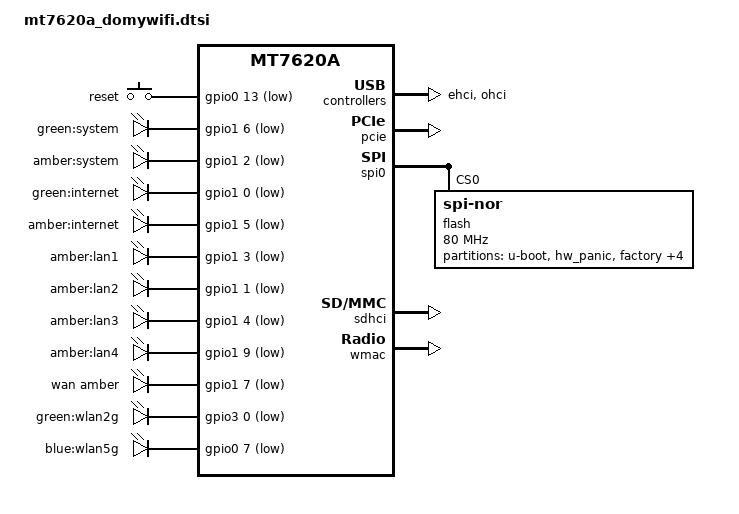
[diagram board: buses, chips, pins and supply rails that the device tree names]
#include "mt7620a.dtsi"

#include <dt-bindings/gpio/gpio.h>
#include <dt-bindings/input/input.h>

/ {
	aliases {
		led-boot = &led_system;
		led-failsafe = &led_system;
		led-running = &led_system;
		led-upgrade = &led_system;
	};
keys {
		compatible = "gpio-keys";

		reset {
			label = "reset";
			gpios = <&gpio0 13 GPIO_ACTIVE_LOW>;
			linux,code = <KEY_RESTART>;
		};
	};

	leds {
		compatible = "gpio-leds";

		led_system_green: system_green {
			label = "green:system";
			gpios = <&gpio1 6 GPIO_ACTIVE_LOW>;
		};

		led_system_amber: system_amber {
			label = "amber:system";
			gpios = <&gpio1 2 GPIO_ACTIVE_LOW>;
		};

		internet_green {
			label = "green:internet";
			gpios = <&gpio1 0 GPIO_ACTIVE_LOW>;
		};

		internet_amber {
			label = "amber:internet";
			gpios = <&gpio1 5 GPIO_ACTIVE_LOW>;
		};

		lan1 {
			label = "amber:lan1";
			gpios = <&gpio1 3 GPIO_ACTIVE_LOW>;
		};

		lan2 {
			label = "amber:lan2";
			gpios = <&gpio1 1 GPIO_ACTIVE_LOW>;
		};

		lan3 {
			label = "amber:lan3";
			gpios = <&gpio1 4 GPIO_ACTIVE_LOW>;
		};

		lan4 {
			label = "amber:lan4";
			gpios = <&gpio1 9 GPIO_ACTIVE_LOW>;
		};

		wan {
			function = LED_FUNCTION_WAN;
			color = <LED_COLOR_ID_AMBER>;
			gpios = <&gpio1 7 GPIO_ACTIVE_LOW>;
		};

		wlan2g {
			label = "green:wlan2g";
			gpios = <&gpio3 0 GPIO_ACTIVE_LOW>;
			linux,default-trigger = "phy1tpt";
		};
		wlan5g {
			label = "blue:wlan5g";
			gpios = <&gpio0 7 GPIO_ACTIVE_LOW>;
			linux,default-trigger = "phy0tpt";
		};
        };
		gpio_export {
		compatible = "gpio-export";
		#size-cells = <0>;
	};
};
&ehci {
	status = "okay";
};

&ohci {
	status = "okay";
};

&pcie {
	status = "okay";
};

&pcie0 {
	mt76@0,0 {
		reg = <0x0000 0 0 0 0>;
		mediatek,mtd-eeprom = <&factory 0x8000>;
		ieee80211-freq-limit = <5000000 6000000>;
	};
};
&gpio1 {
	status = "okay";
};

&gpio3 {
	status = "okay";
};

&spi0 {
	status = "okay";

	flash@0 {
		compatible = "jedec,spi-nor";
		reg = <0>;
		spi-max-frequency = <80000000>;
		m25p,fast-read;

		partitions {
			compatible = "fixed-partitions";
			#address-cells = <1>;
			#size-cells = <1>;

			partition@0 {
				label = "u-boot";
				reg = <0x0 0x30000>;
				read-only;
			};

			partition@30000 {
				label = "hw_panic";
				reg = <0x30000 0x10000>;
				read-only;
			};

			factory: partition@40000 {
				label = "factory";
				reg = <0x40000 0x10000>;
				read-only;
			};

			partition@50000 {
				compatible = "denx,uimage";
				label = "firmware";
				reg = <0x50000 0xf70000>;
			};

			partition@fc0000 {
				label = "oem";
				reg = <0xfc0000 0x20000>;
				read-only;
			};

			bdinfo: partition@fe0000 {
				label = "bdinfo";
				reg = <0xfe0000 0x10000>;
				read-only;
			};

			partition@ff0000 {
				label = "backup";
				reg = <0xff0000 0x10000>;
				read-only;
			};
		};
	};
};

&ethernet {
	mtd-mac-address = <&factory 0x4>;

	mediatek,portmap = "wllll";
};

&sdhci {
	status = "okay";
};

&wmac {
	ralink,mtd-eeprom = <&factory 0x0>;
};

&state_default {
	gpio {
		groups = "uartf", "wled";
		function = "gpio";
	};
};
